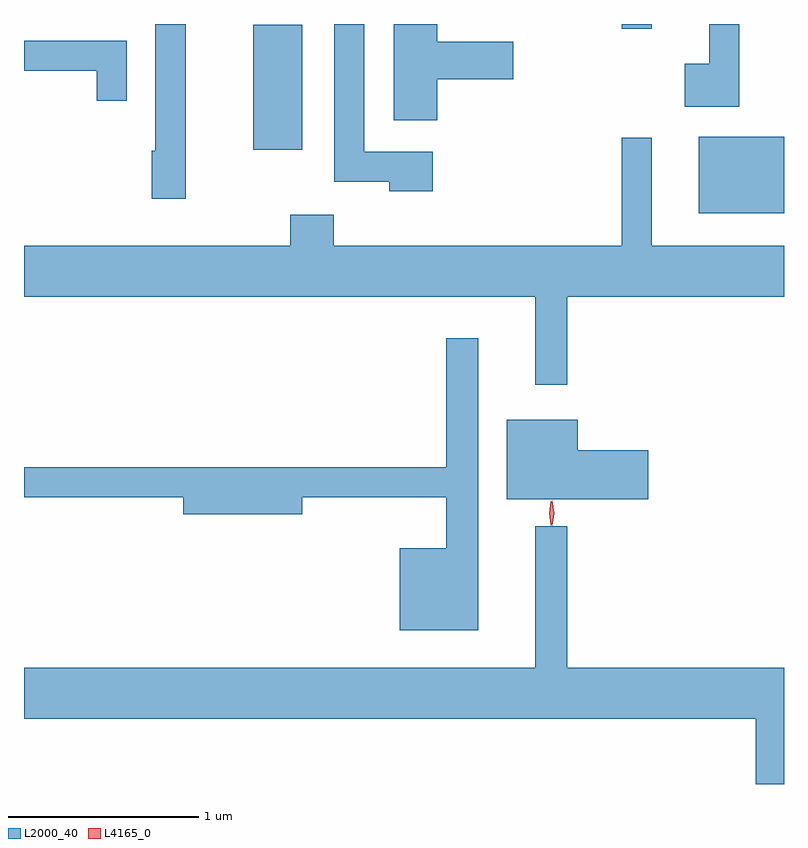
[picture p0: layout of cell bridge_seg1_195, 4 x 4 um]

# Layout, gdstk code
import gdstk
lib = gdstk.Library(unit=1e-6, precision=1e-09)
def R(c, l, rs):  # rectangles x0, y0, x1, y1
    for r in rs: c.add(gdstk.rectangle(r[:2], r[2:], *l))
def P(c, l, *ps):  # polygons
    for p in ps: c.add(gdstk.Polygon(p, *l))
L2000_40 = (2000, 40)
L4165_0 = (4165, 0)

bridge_seg1_195 = lib.new_cell('bridge_seg1_195')
R(bridge_seg1_195, L2000_40, [(732.281,939.976,732.729,940.379), (729.936,940.311,730.194,940.969), (731.876,940.948,732.034,940.972)])
P(bridge_seg1_195, L2000_40, [(729.579,940.972),(729.421,940.972),(729.421,940.304),(729.401,940.304),(729.401,940.051),(729.579,940.051)],
  [(730.879,940.299),(730.519,940.299),(730.519,940.972),(730.361,940.972),(730.361,940.141),(730.651,940.141),(730.651,940.091),(730.879,940.091)],
  [(730.904,940.681),(731.304,940.681),(731.304,940.879),(730.904,940.879),(730.904,940.972),(730.676,940.972),(730.676,940.466),(730.904,940.466)],
  [(732.494,940.972),(732.336,940.972),(732.336,940.764),(732.206,940.764),(732.206,940.536),(732.494,940.536)],
  [(729.269,940.884),(728.729,940.884),(728.729,940.726),(729.111,940.726),(729.111,940.568),(729.269,940.568)],
  [(731.589,939.536),(732.729,939.536),(732.729,939.804),(732.034,939.804),(732.034,940.373),(731.876,940.373),(731.876,939.804),(730.359,939.804),(730.359,939.969),(730.131,939.969),(730.131,939.804),(728.729,939.804),(728.729,939.536),(731.421,939.536),(731.421,939.073),(731.589,939.073)],
  [(731.119,939.318),(730.951,939.318),(730.951,938.639),(728.729,938.639),(728.729,938.481),(729.566,938.481),(729.566,938.391),(730.194,938.391),(730.194,938.481),(730.951,938.481),(730.951,938.214),(730.706,938.214),(730.706,937.781),(731.119,937.781)],
  [(732.014,938.729),(731.644,938.729),(731.644,938.889),(731.271,938.889),(731.271,938.471),(732.014,938.471)],
  [(731.589,938.328),(731.421,938.328),(731.421,937.584),(728.729,937.584),(728.729,937.316),(732.581,937.316),(732.581,936.972),(732.729,936.972),(732.729,937.584),(731.589,937.584)])
P(bridge_seg1_195, L4165_0, [(731.503,938.333),(731.502,938.334),(731.493,938.396),(731.502,938.459),(731.502,938.46),(731.503,938.459),(731.513,938.396),(731.504,938.334)],
  [(731.508,938.33),(731.508,938.33),(731.499,938.398),(731.509,938.465),(731.51,938.466),(731.51,938.465),(731.519,938.398),(731.509,938.33)])

lib.write_gds('bridge_seg1_195.gds')
